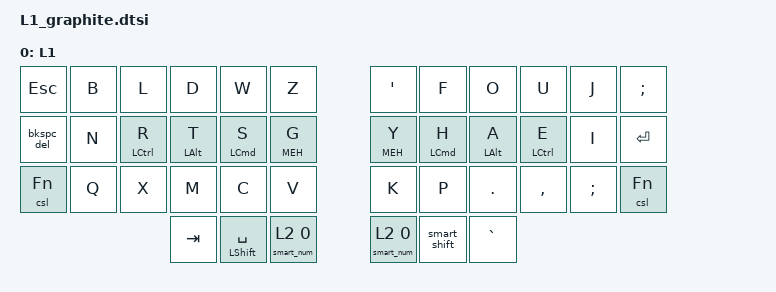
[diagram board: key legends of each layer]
/**
 * Alpha Layer - QWERTY
 */

/ {
  keymap {
    compatible = "zmk,keymap";

    qwerty_layer {
      display-name = "L1";
      bindings = <
// ╭───────────────┬───────────────┬───────────────┬───────────────┬───────────────┬───────────────╮   ╭───────────────┬───────────────┬───────────────┬───────────────┬───────────────┬───────────────╮
// │0              │1              │2              │3              │4              │5              │   │6              │7              │8              │9              │10             │11             │
    &kp ESC         &kp B           &kp L           &kp D           &kp W           &kp Z               &kp SQT           &kp F           &kp O           &kp U           &kp J           &kp SEMICOLON
// ├───────────────├───────────────┼───────────────┼───────────────┼───────────────┼───────────────┤   ├───────────────├───────────────┼───────────────┼───────────────┼───────────────┼───────────────┤
// │12             │13             │14             │15             │16             │17             │   │18             │19             │20             │21             │22             │23             │
    &bkspc_del      &kp N           &hrml LCTRL R   &hrml LALT T    &hrml LCMD S    &hrml MEH G         &hrmr MEH Y     &hrmr LCMD H    &hrmr LALT A    &hrmr LCTRL E   &kp I         &kp ENTER
// ├───────────────├───────────────┼───────────────┼───────────────┼───────────────┼───────────────┤   ├───────────────├───────────────┼───────────────┼───────────────┼───────────────┼───────────────┤
// │24             │25             │26             │27             │28             │29             │   │30             │31             │32             │33             │34             │35             │
    &csl Fn         &kp Q           &kp X           &kp M           &kp C           &kp V               &kp K           &kp P           &kp DOT       &kp COMMA         &kp SEMICOLON   &csl Fn
// ╰───────────────┴───────────────┴───────────────┼───────────────┼───────────────┼───────────────┤   ├───────────────├───────────────┼───────────────┼───────────────┴───────────────┴───────────────╯
//                                                 │36             │37             │38             │   │39             │40             │41             │
                                                    &kp TAB         &mt LSHFT SPACE &smart_num L2 0     &smart_num L2 0 &smart_shift    &kp GRAVE
//                                                 ╰───────────────┴───────────────┴───────────────╯   ╰───────────────┴───────────────┴───────────────╯
      >;
    };
  };
};
